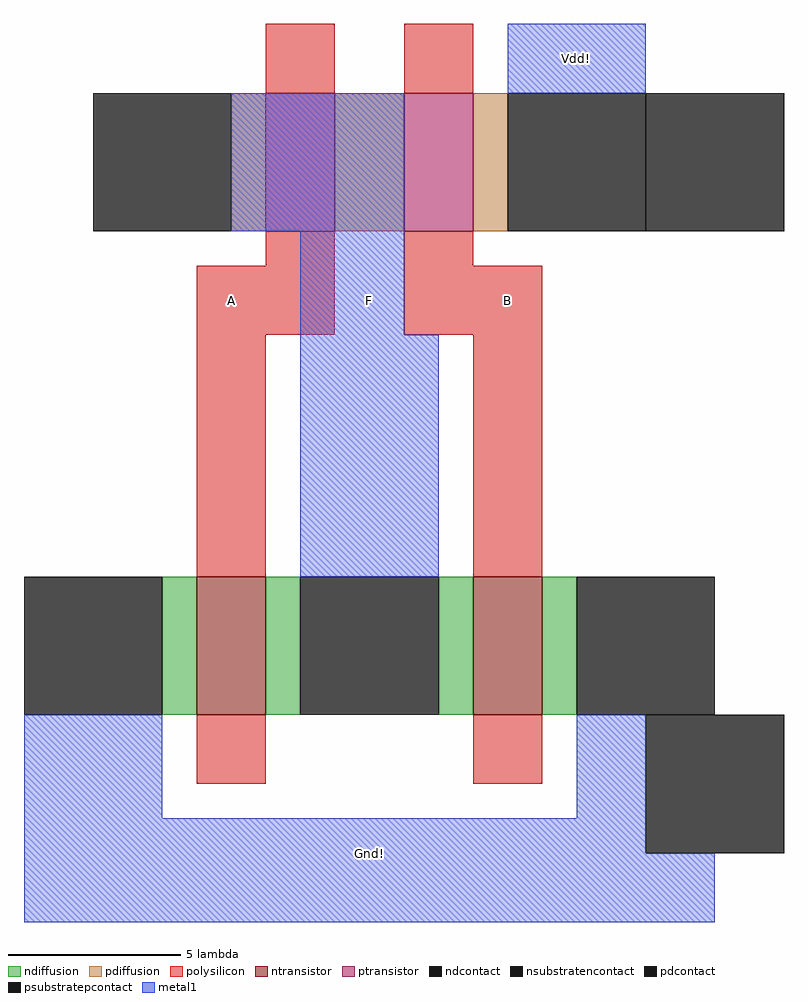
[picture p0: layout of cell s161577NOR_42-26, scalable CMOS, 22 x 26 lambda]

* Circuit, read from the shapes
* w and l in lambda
.subckt s161577NOR_42-26 A B F Gnd! Vdd!
M1 F A Gnd! Gnd! nfet w=4 l=2
M2 Gnd! B F Gnd! nfet w=4 l=2
M3 n1 A F Vdd! pfet w=4 l=2
M4 Vdd! B n1 Vdd! pfet w=4 l=2
.ends

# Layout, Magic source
magic
tech scmos
<< polysilicon >>
rect -2 15 0 17
rect 2 15 4 17
rect -2 10 0 11
rect -4 8 0 10
rect 2 10 4 11
rect 2 8 6 10
rect -4 1 -2 8
rect 4 1 6 8
rect -4 -5 -2 -3
rect 4 -5 6 -3
<< ndiffusion >>
rect -5 -3 -4 1
rect -2 -3 -1 1
rect 3 -3 4 1
rect 6 -3 7 1
<< pdiffusion >>
rect -3 11 -2 15
rect 0 11 2 15
rect 4 11 5 15
<< metal1 >>
rect 5 15 9 17
rect -3 11 2 15
rect -1 8 2 11
rect -1 1 3 8
rect -9 -6 -5 -3
rect 7 -6 9 -3
rect -9 -7 9 -6
rect -9 -9 11 -7
<< ntransistor >>
rect -4 -3 -2 1
rect 4 -3 6 1
<< ptransistor >>
rect -2 11 0 15
rect 2 11 4 15
<< ndcontact >>
rect -9 -3 -5 1
rect -1 -3 3 1
rect 7 -3 11 1
<< pdcontact >>
rect -7 11 -3 15
rect 5 11 9 15
<< psubstratepcontact >>
rect 9 -7 13 -3
<< nsubstratencontact >>
rect 9 11 13 15
<< labels >>
rlabel metal1 7 16 7 16 5 Vdd!
rlabel metal1 1 -7 1 -7 1 Gnd!
rlabel metal1 1 9 1 9 1 F
rlabel polysilicon 5 9 5 9 1 B
rlabel polysilicon -3 9 -3 9 1 A
<< end >>
